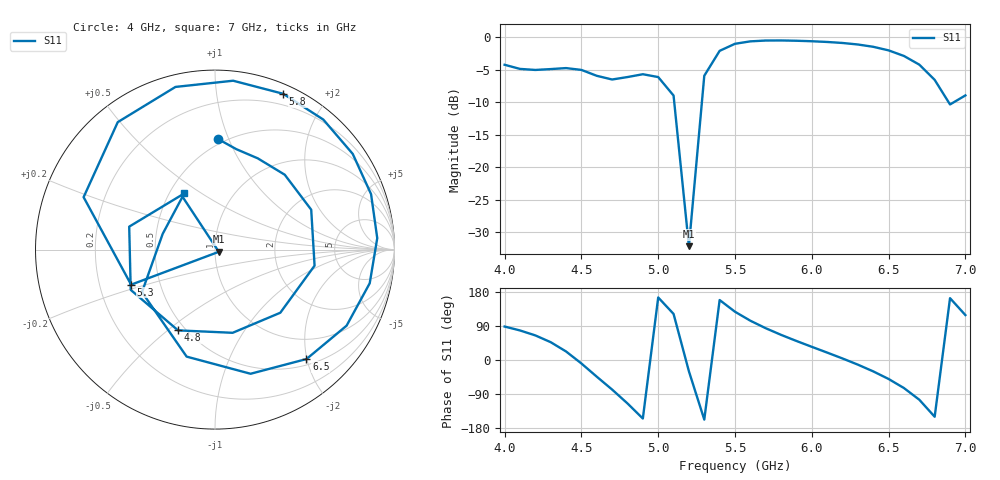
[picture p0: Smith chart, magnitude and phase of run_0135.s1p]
! Touchstone file exported from HFSS 2024.2.0
!  File:  C:/Users/wsak9/Desktop/Sim Fast/Widenad Patch/WP_AI_V1_sweep.aedt
!  Generated:  08:32:46 PM Oct 13, 2026
!  Design:  A1_model
!  Project:  WP_AI_V1_sweep
!  Setup:  Setup1
!  Solution:  Sweep
! Variables:
!  Air_gap = 2.72mm
!  Curve_Amp1 = 2.91
!  Curve_len1 = 1
!  Curve_pos = 11.855mm
!  Extra = 7.9mm
!  H_sub = 0.79mm
!  L_Patch = 19.71mm
!  L_Patch1 = 22.83mm
!  Sx = 2.34mm
!  Sy = 3.16mm
!  WS = 1.18mm
!  W_Patch = 21.46mm
!  W_Patch1 = 14.93mm
!Data is not renormalized
# GHz S MA
! Terminal data exported
! Port[1] = 1
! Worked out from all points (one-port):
!   31 points, 4 GHz to 7 GHz, reference per port
!   lowest |S11| = -32.2 dB at 5.2 GHz (marker M1), VSWR 1.05
!   |S11| at or under -10 dB: 5.104 GHz to 5.284 GHz (179.9 MHz wide, 3.46 % of centre); 6.89119 GHz to 6.923973 GHz (32.78 MHz wide, 0.475 % of centre)
!   S11 on the Smith chart (normalised r, x): 4 GHz: 0.46, +0.92; 4.8 GHz: 0.46, -0.54; 5.3 GHz: 0.34, -0.18; 5.8 GHz: 0.09, +1.53; 6.5 GHz: 0.60, -1.99; 7 GHz: 0.59, +0.43
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4  0.6155 88.3
4.3  0.5701 47.0
4.4  0.5803 22.5
4.5  0.562 -9.2
4.6  0.5061 -44.0
4.7  0.4739 -78.0
4.8  0.4949 -114.6
4.9  0.5204 -154.5
5  0.4948 165.0
5.1  0.3565 121.6
5.2  0.0246 -29.9
5.3  0.5066 -157.3
5.4  0.7882 158.2
5.5  0.8933 127.3
5.6  0.9327 103.7
5.7  0.9463 83.9
5.8  0.9477 66.3
5.9  0.9428 50.2
6.1  0.9228 19.6
6.2  0.9062 4.0
6.3  0.8822 -12.3
6.4  0.8469 -30.0
6.5  0.7947 -50.1
6.6  0.7196 -74.0
6.7  0.6168 -104.8
6.8  0.4709 -149.8
6.9  0.3043 163.2
7  0.3573 118.5
